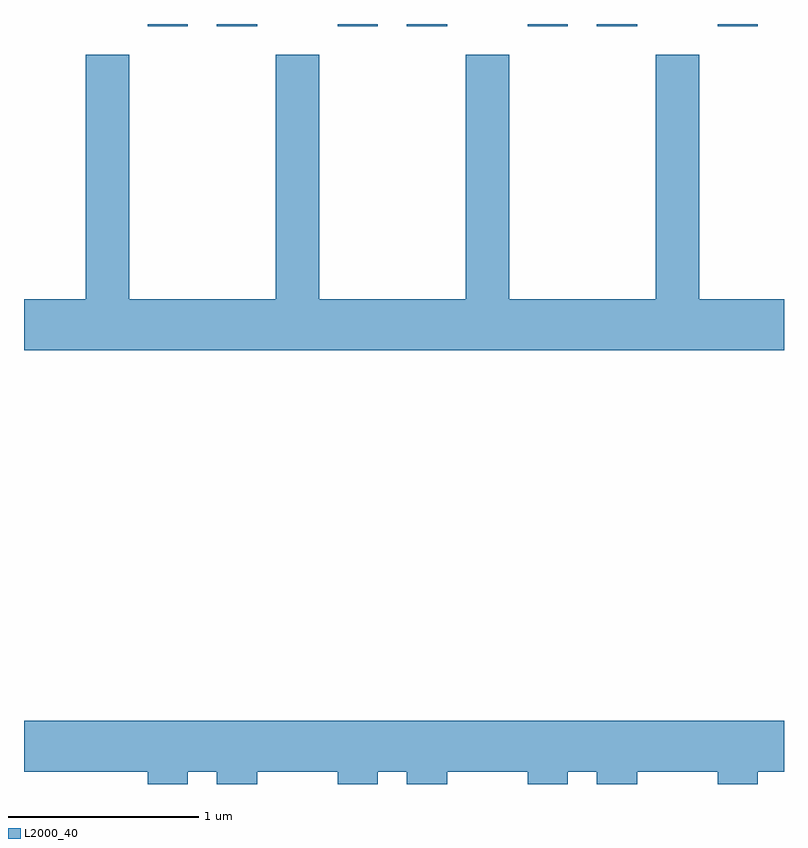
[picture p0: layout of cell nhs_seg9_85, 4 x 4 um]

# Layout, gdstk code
import gdstk
lib = gdstk.Library(unit=1e-6, precision=1e-09)
def R(c, l, rs):  # rectangles x0, y0, x1, y1
    for r in rs: c.add(gdstk.rectangle(r[:2], r[2:], *l))
def P(c, l, *ps):  # polygons
    for p in ps: c.add(gdstk.Polygon(p, *l))
L2000_40 = (2000, 40)

nhs_seg9_85 = lib.new_cell('nhs_seg9_85')
R(nhs_seg9_85, L2000_40, [(188.261,1982.421,188.474,1982.432), (188.626,1982.421,188.839,1982.432), (189.261,1982.421,189.474,1982.432), (189.626,1982.421,189.839,1982.432), (190.261,1982.421,190.474,1982.432), (190.626,1982.421,190.839,1982.432), (191.261,1982.421,191.474,1982.432)])
P(nhs_seg9_85, L2000_40, [(191.611,1980.984),(191.164,1980.984),(191.164,1982.269),(190.936,1982.269),(190.936,1980.984),(190.164,1980.984),(190.164,1982.269),(189.936,1982.269),(189.936,1980.984),(189.164,1980.984),(189.164,1982.269),(188.936,1982.269),(188.936,1980.984),(188.164,1980.984),(188.164,1982.269),(187.936,1982.269),(187.936,1980.984),(187.611,1980.984),(187.611,1980.716),(191.611,1980.716)],
  [(188.474,1978.496),(188.626,1978.496),(188.626,1978.432),(188.839,1978.432),(188.839,1978.496),(189.261,1978.496),(189.261,1978.432),(189.474,1978.432),(189.474,1978.496),(189.626,1978.496),(189.626,1978.432),(189.839,1978.432),(189.839,1978.496),(190.261,1978.496),(190.261,1978.432),(190.474,1978.432),(190.474,1978.496),(190.626,1978.496),(190.626,1978.432),(190.839,1978.432),(190.839,1978.496),(191.261,1978.496),(191.261,1978.432),(191.474,1978.432),(191.474,1978.496),(191.611,1978.496),(191.611,1978.764),(187.611,1978.764),(187.611,1978.496),(188.261,1978.496),(188.261,1978.432),(188.474,1978.432)])

lib.write_gds('nhs_seg9_85.gds')
